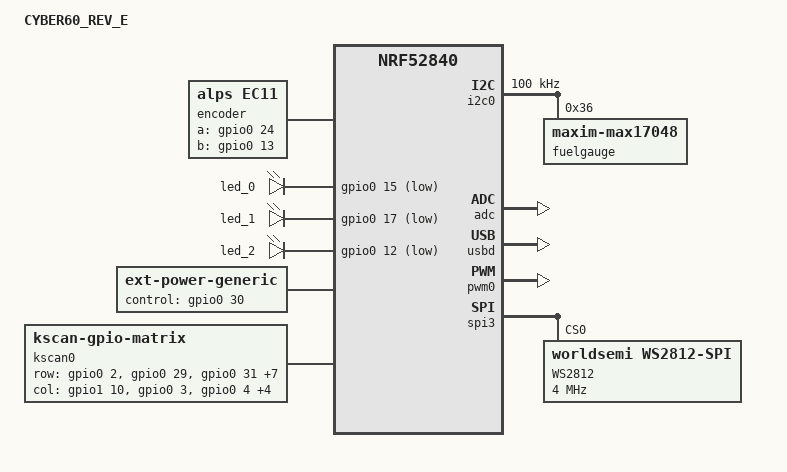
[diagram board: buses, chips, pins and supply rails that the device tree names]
/*
 * Copyright (c) 2025 Stefan Sundin (4pplet)
 *
 * SPDX-License-Identifier: MIT
 */

/*
 * Currently not implemented:
 * BQ24075 Charge status (inverted logic): P1.13 
 * BQ24075 Power good (inverted logic): P0.06
 * Conected directly with a series 10k resistor
 */

/dts-v1/;
#include <nordic/nrf52840_qiaa.dtsi>
#include <dt-bindings/led/led.h>
#include "cyber60_rev_e-pinctrl.dtsi"
#include "cyber60_rev_e-layouts.dtsi"
#include "cyber60_rev_e-transforms.dtsi"

/ {
	model = "CYBER60_REV_E";
	compatible = "cyber60", "Rev_E";

	chosen {
		zephyr,code-partition = &code_partition;
		zephyr,sram = &sram0;
		zephyr,flash = &flash0;
		zmk,kscan = &kscan0;
		zmk,physical-layout = &layout_0;
		zmk,underglow = &led_strip;
		zmk,battery = &fuelgauge;
		zmk,studio-rpc-uart = &cdc_acm_uart;
	};

	sensors {
    	compatible = "zmk,keymap-sensors";
    	sensors = <&encoder>;
	};

	encoder: encoder_1 {
        compatible = "alps,ec11";
        a-gpios = <&gpio0 24 (GPIO_ACTIVE_HIGH | GPIO_PULL_UP)>; // P0.24
        b-gpios = <&gpio0 13 (GPIO_ACTIVE_HIGH | GPIO_PULL_UP)>; // P0.13
        //resolution = <2>;
    };

    buzzer: pwm_buzzer {
        compatible = "pwm-buzzer";
		pwms = <&pwm0 0 1000 PWM_POLARITY_NORMAL>;
		//set status = "okay" to enable the buzzer
		status = "disabled";
		//status = "okay";
    };

	leds {
			compatible = "gpio-leds";
			led_0: led_green { // P0.15
				gpios = <&gpio0 15 GPIO_ACTIVE_LOW>;
				status = "okay";
			};
			led_1: led_red { // P0.17
				gpios = <&gpio0 17 GPIO_ACTIVE_LOW>;
				status = "okay";
			};
			led_2: led_blue { // P0.12
				gpios = <&gpio0 12 GPIO_ACTIVE_LOW>;
				status = "okay";
			};
		};

	aliases {
		ledgreen = &led_0;
		ledred   = &led_1;
		ledblue  = &led_2;
		buzzer = &buzzer;
	};

	ext-power {
		compatible = "zmk,ext-power-generic";
		control-gpios = <&gpio0 30 GPIO_ACTIVE_HIGH>; // P0.30
	};

	kscan0: kscan {
		compatible = "zmk,kscan-gpio-matrix";
		wakeup-source;
		diode-direction = "col2row";
		row-gpios
			= <&gpio0 2  (GPIO_ACTIVE_HIGH | GPIO_PULL_DOWN)>
			, <&gpio0 29 (GPIO_ACTIVE_HIGH | GPIO_PULL_DOWN)>
			, <&gpio0 31 (GPIO_ACTIVE_HIGH | GPIO_PULL_DOWN)>
			, <&gpio1 0 (GPIO_ACTIVE_HIGH | GPIO_PULL_DOWN)>
			, <&gpio0 26 (GPIO_ACTIVE_HIGH | GPIO_PULL_DOWN)>
			, <&gpio0 22 (GPIO_ACTIVE_HIGH | GPIO_PULL_DOWN)>
			, <&gpio0 8 (GPIO_ACTIVE_HIGH | GPIO_PULL_DOWN)>
			, <&gpio0 9 (GPIO_ACTIVE_HIGH | GPIO_PULL_DOWN)>
			, <&gpio1 4 (GPIO_ACTIVE_HIGH | GPIO_PULL_DOWN)>
			, <&gpio1 11 (GPIO_ACTIVE_HIGH | GPIO_PULL_DOWN)>
			;
		col-gpios
			= <&gpio1 10  GPIO_ACTIVE_HIGH>
			, <&gpio0 3  GPIO_ACTIVE_HIGH>
			, <&gpio0 4  GPIO_ACTIVE_HIGH>
			, <&gpio0 28 GPIO_ACTIVE_HIGH>
			, <&gpio1 6 GPIO_ACTIVE_HIGH>
			, <&gpio0 10  GPIO_ACTIVE_HIGH>
			, <&gpio1 2 GPIO_ACTIVE_HIGH>
			;
	};
};

&gpio0 {
	status = "okay";
};

&gpio1 {
	status = "okay";
};

&i2c0 {
    status = "okay";
    compatible = "nordic,nrf-twim";
    pinctrl-0 = <&i2c0_default>;
    pinctrl-1 = <&i2c0_sleep>;
    pinctrl-names = "default", "sleep";
    clock-frequency = <100000>;

    fuelgauge: max17048@36 {
		compatible = "zmk,maxim-max17048";
		reg = <0x36>;
		};
};

&adc {
	status = "okay";
};

zephyr_udc0: &usbd {
    status = "okay";
};

&usbd {
    status = "okay";
    cdc_acm_uart: cdc_acm_uart {
        compatible = "zephyr,cdc-acm-uart";
        label = "CDC_ACM_0";
    };
};

&pwm0 {
    status = "okay";    
	pinctrl-0 = <&pwm0_default>;
	pinctrl-1 = <&pwm0_sleep>;
    pinctrl-names = "default", "sleep";
};

&spi3 {
	compatible = "nordic,nrf-spim";
	status = "okay";
	pinctrl-0 = <&spi3_default>;
	pinctrl-1 = <&spi3_sleep>;
	pinctrl-names = "default", "sleep";
	led_strip: ws2812@0 {
		compatible = "worldsemi,ws2812-spi";
		label = "WS2812";
		/* SPI */
		reg = <0>; /* ignored, but necessary for SPI bindings */
		spi-max-frequency = <4000000>;
		/* WS2812 */
		chain-length = <16>; /* LED strip length */
		spi-one-frame = <0x70>;
		spi-zero-frame = <0x40>;
		color-mapping = <LED_COLOR_ID_GREEN LED_COLOR_ID_RED LED_COLOR_ID_BLUE>;
	};
};

&flash0 {
	/*
	 * For more information, see:
	 * http://docs.zephyrproject.org/latest/devices/dts/flash_partitions.html
	 */
	partitions {
		compatible = "fixed-partitions";
		#address-cells = <1>;
		#size-cells = <1>;

		sd_partition: partition@0 {
			label = "softdevice";
			reg = <0x00000000 0x00026000>;
		};
		code_partition: partition@26000 {
			label = "code_partition";
			reg = <0x00026000 0x000c6000>;
		};

		/*
		 * The flash starting at 0x000ec000 and ending at
		 * 0x000f3fff is reserved for use by the application.
		 */

		/*
		 * Storage partition will be used by FCB/LittleFS/NVS
		 * if enabled.
		 */
		storage_partition: partition@ec000 {
			label = "storage";
			reg = <0x000ec000 0x00008000>;
		};

		boot_partition: partition@f4000 {
			label = "adafruit_boot";
			reg = <0x000f4000 0x0000c000>;
		};
	};
};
